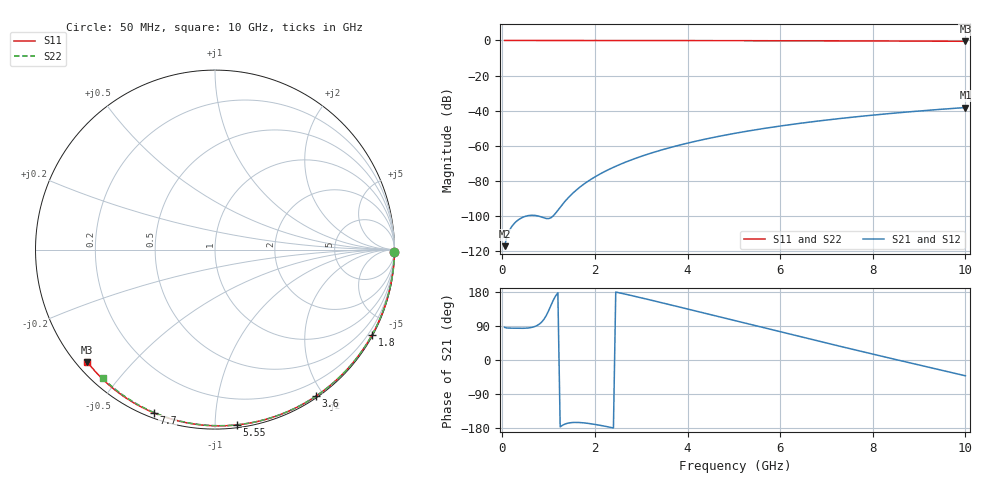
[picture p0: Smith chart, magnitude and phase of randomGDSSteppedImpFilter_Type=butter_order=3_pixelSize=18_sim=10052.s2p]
! freq	dB(S11)	phase(S11)	dB(S12)	phase(S12)
!  dB(S21)	phase(S21)	dB(S22)	phase(S22)
!S-par simulation data
#  GHz  S  DB  R 50
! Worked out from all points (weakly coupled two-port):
!   200 points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, 50 MHz to 10 GHz, reference 50 ohm
!   highest |S21| = -38.15 dB at 10 GHz (marker M1); lowest = -117.0 dB at 50 MHz (marker M2)
!   lowest |S11| = -0.5 dB at 10 GHz (marker M3), VSWR 37.09, Z = 1.54 - j18.8 ohm
!   |S11| at or under -10 dB: nowhere
!   |S22| runs from -0.4 to 0.0 dB; largest |S21 - S12| = 0
!   S11 on the Smith chart (normalised r, x): 50 MHz: open; 1.8 GHz: 0.03, -3.95; 3.6 GHz: 0.02, -1.90; 5.55 GHz: 0.02, -1.13; 7.7 GHz: 0.02, -0.69; 10 GHz: 0.03, -0.38
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0.05  -0.00 -0.8  -116.99 86.0  -116.99 86.0  -0.00 -0.8
0.45  -0.01 -7.2  -100.48 83.7  -100.48 83.7  -0.01 -6.8
0.9  -0.02 -14.4  -100.90 107.5  -100.90 107.5  -0.02 -13.6
1.75  -0.04 -27.7  -81.92 -165.8  -81.92 -165.8  -0.03 -26.2
1.8  -0.04 -28.4  -80.97 -166.4  -80.97 -166.4  -0.03 -26.9
1.85  -0.04 -29.2  -80.08 -167.2  -80.08 -167.2  -0.04 -27.6
2.15  -0.04 -33.8  -75.38 -173.2  -75.38 -173.2  -0.04 -32.0
2.35  -0.05 -36.9  -72.74 -178.1  -72.74 -178.1  -0.04 -34.9
2.55  -0.05 -39.9  -70.40 176.7  -70.40 176.7  -0.05 -37.8
2.95  -0.06 -46.0  -66.36 165.5  -66.36 165.5  -0.06 -43.5
3.4  -0.07 -52.6  -62.57 152.4  -62.57 152.4  -0.07 -49.8
3.6  -0.07 -55.5  -61.08 146.5  -61.08 146.5  -0.07 -52.6
3.9  -0.08 -59.9  -59.03 137.6  -59.03 137.6  -0.08 -56.7
4.3  -0.09 -65.6  -56.58 125.5  -56.58 125.5  -0.09 -62.1
5.05  -0.12 -76.1  -52.68 103.0  -52.68 103.0  -0.11 -72.1
5.55  -0.14 -82.9  -50.46 87.9  -50.46 87.9  -0.13 -78.5
6.1  -0.16 -90.2  -48.30 71.5  -48.30 71.5  -0.15 -85.5
6.7  -0.19 -98.0  -46.21 53.6  -46.21 53.6  -0.18 -92.9
7.7  -0.25 -110.6  -43.25 24.3  -43.25 24.3  -0.24 -104.8
8.35  -0.30 -118.7  -41.60 5.4  -41.60 5.4  -0.29 -112.4
9.2  -0.38 -129.0  -39.70 -18.9  -39.70 -18.9  -0.36 -122.1
10  -0.47 -138.7  -38.15 -41.6  -38.15 -41.6  -0.44 -131.1
